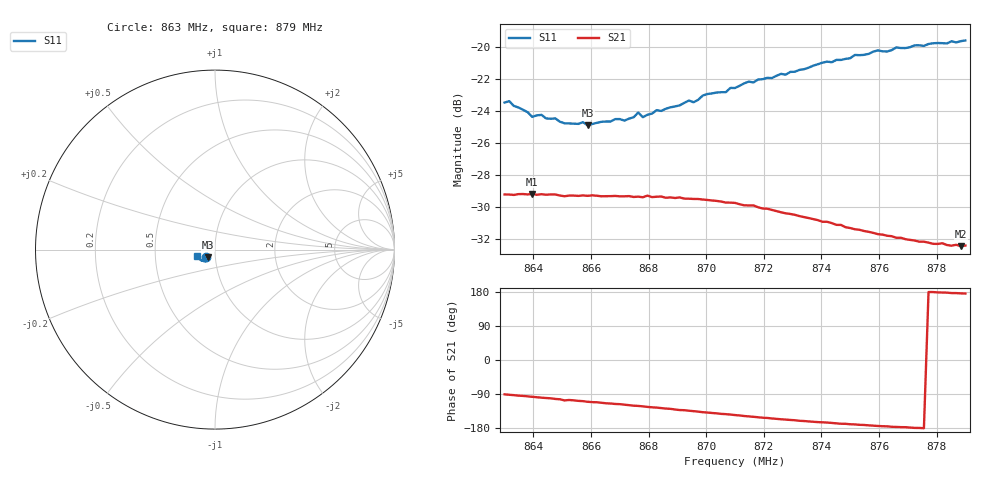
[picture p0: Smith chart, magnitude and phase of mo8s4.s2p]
# HZ S RI R 50
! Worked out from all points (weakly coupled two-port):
!   101 points, 863 MHz to 879 MHz, reference 50 ohm
!   highest |S21| = -29.16 dB at 863.96 MHz (marker M1); lowest = -32.4 dB at 878.84 MHz (marker M2)
!   lowest |S11| = -24.9 dB at 865.88 MHz (marker M3), VSWR 1.12, Z = 46.2 - j4 ohm
!   |S11| at or under -10 dB: start of sweep to end of sweep
!   S12 and S22 are empty: the file has one direction only
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8.63e8  -0.0523 -0.0419  -0.000417 -0.0347  0 0  0 0
8.6316e8  -0.0534 -0.0418  -0.00107 -0.0347  0 0  0 0
8.6396e8  -0.045 -0.0405  -0.00433 -0.0345  0 0  0 0
8.6428e8  -0.0437 -0.0432  -0.00572 -0.0343  0 0  0 0
8.6508e8  -0.0392 -0.0425  -0.00983 -0.0328  0 0  0 0
8.6572e8  -0.0379 -0.0442  -0.011 -0.0327  0 0  0 0
8.6588e8  -0.0372 -0.0431  -0.0119 -0.0322  0 0  0 0
8.6684e8  -0.0362 -0.0473  -0.015 -0.0309  0 0  0 0
8.6716e8  -0.0337 -0.0484  -0.0161 -0.0302  0 0  0 0
8.6764e8  -0.035 -0.0517  -0.0177 -0.0292  0 0  0 0
8.678e8  -0.0342 -0.0498  -0.0182 -0.0287  0 0  0 0
8.6844e8  -0.0355 -0.0523  -0.0205 -0.0273  0 0  0 0
8.694e8  -0.0371 -0.0571  -0.0233 -0.0243  0 0  0 0
8.6956e8  -0.0371 -0.0561  -0.0238 -0.0237  0 0  0 0
8.7004e8  -0.0393 -0.0595  -0.025 -0.0221  0 0  0 0
8.71e8  -0.0424 -0.0612  -0.0268 -0.0186  0 0  0 0
8.7148e8  -0.0459 -0.063  -0.0274 -0.0166  0 0  0 0
8.7372e8  -0.0589 -0.0646  -0.0278 -0.00848  0 0  0 0
8.7596e8  -0.0768 -0.0602  -0.026 -0.00267  0 0  0 0
8.7644e8  -0.08 -0.0561  -0.0257 -0.00167  0 0  0 0
8.7884e8  -0.097 -0.0381  -0.0239 0.00175  0 0  0 0
8.79e8  -0.098 -0.0369  -0.024 0.00191  0 0  0 0
